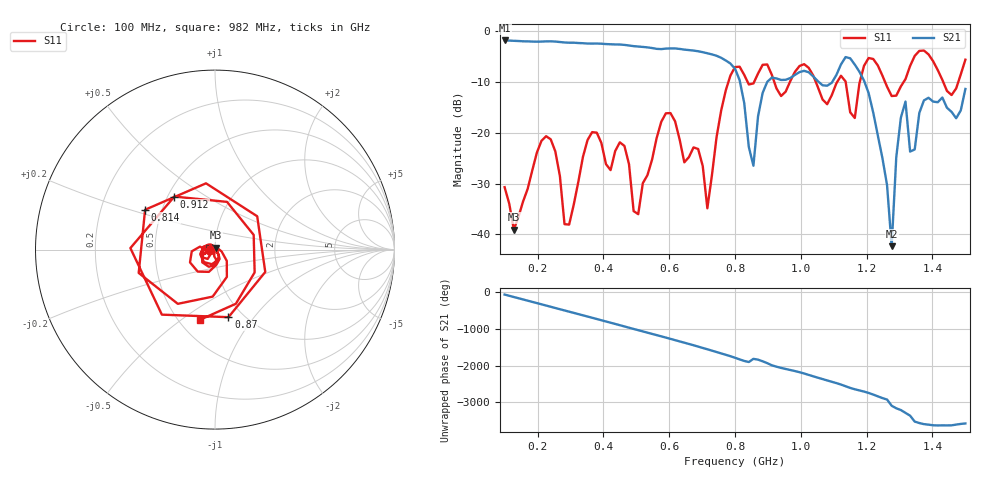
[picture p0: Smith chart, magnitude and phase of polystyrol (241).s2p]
! NanoVNA-App
! Date: 2025-09-25 15:31:46
! Start: 100MHz Stop: 1,5GHz Points: 101
! S-Parameter data: F S11 S21 S12 S22
# Hz S RI R 50
!  Frequency  S11_Real  S11_Imag  S21_Real  S21_Imag  S12_Real  S12_Imag  S22_Real  S22_Imag
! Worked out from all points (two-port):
!   101 points, 100 MHz to 1.5 GHz, reference 50 ohm
!   highest |S21| = -1.80 dB at 100 MHz (marker M1); lowest = -42.3 dB at 1.276 GHz (marker M2)
!   |S21| within 3 dB of the highest: start of sweep to 743.1 MHz
!   lowest |S11| = -39.0 dB at 128 MHz (marker M3), VSWR 1.02, Z = 50.3 + j1.07 ohm
!   |S11| at or under -10 dB: start of sweep to 779.8 MHz; 1.046 GHz to 1.11 GHz (64.55 MHz wide, 5.99 % of centre); 1.256 GHz to 1.312 GHz (56.15 MHz wide, 4.37 % of centre) (the widest 3 of 7)
!   S12 and S22 are empty: the file has one direction only
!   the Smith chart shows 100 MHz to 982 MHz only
!   S11 on the Smith chart (normalised r, x): 100 MHz: 0.94, -0.01; 814 MHz: 0.40, +0.22; 870 MHz: 0.85, -0.75; 912 MHz: 0.54, +0.37; 982 MHz: 0.64, -0.59
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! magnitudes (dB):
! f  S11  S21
! 100 MHz  -30.7  -1.8
! 128 MHz  -39.0  -1.9
! 212 MHz  -21.6  -2.0
! 282 MHz  -38.0  -2.2
! 338 MHz  -24.7  -2.3
! 464 MHz  -22.6  -2.7
! 506 MHz  -36.0  -3.0
! 576 MHz  -17.8  -3.5
! 716 MHz  -34.9  -4.3
! 800 MHz  -7.0  -7.4
! 814 MHz  -7.0  -9.6
! 856 MHz  -10.3  -26.5
! 870 MHz  -8.3  -16.8
! 912 MHz  -8.6  -9.1
! 982 MHz  -8.0  -8.6
! 1.038 GHz  -8.7  -8.9
! 1.164 GHz  -17.1  -6.6
! 1.192 GHz  -6.8  -9.7
! 1.276 GHz  -12.7  -42.3
! 1.318 GHz  -9.4  -13.8
! 1.332 GHz  -6.8  -23.7
! 1.5 GHz  -5.6  -11.4
